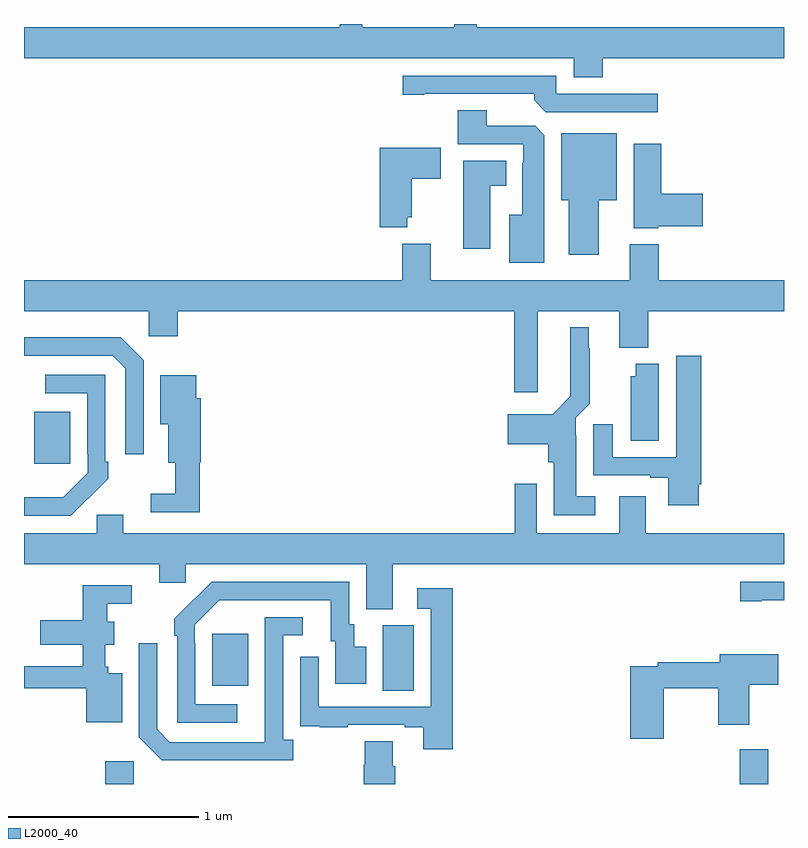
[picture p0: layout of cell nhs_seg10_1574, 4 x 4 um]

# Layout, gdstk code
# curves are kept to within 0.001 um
import gdstk
lib = gdstk.Library(unit=1e-6, precision=1e-09)
def R(c, l, rs):  # rectangles x0, y0, x1, y1
    for r in rs: c.add(gdstk.rectangle(r[:2], r[2:], *l))
def P(c, l, *ps):  # polygons
    for p in ps: c.add(gdstk.Polygon(p, *l))
L2000_40 = (2000, 40)

nhs_seg10_1574 = lib.new_cell('nhs_seg10_1574')
R(nhs_seg10_1574, L2000_40, [(193.427,1292.5,193.578,1292.62), (196.766,1292.5,196.918,1292.683), (194.888,1292.992,195.052,1293.336), (193.991,1293.017,194.179,1293.292), (193.055,1294.185,193.243,1294.459)])
P(nhs_seg10_1574, L2000_40, [(196.046,1296.32),(197,1296.32),(197,1296.484),(195.383,1296.484),(195.383,1296.5),(195.265,1296.5),(195.265,1296.484),(194.78,1296.484),(194.78,1296.5),(194.663,1296.5),(194.663,1296.484),(193,1296.484),(193,1296.32),(195.893,1296.32),(195.893,1296.221),(196.046,1296.221)],
  [(196.336,1296.132),(195.801,1296.132),(195.801,1296.228),(194.994,1296.228),(194.994,1296.127),(195.106,1296.127),(195.106,1296.132),(195.686,1296.132),(195.686,1296.098),(195.747,1296.036),(196.336,1296.036)],
  [(195.739,1295.915),(195.69,1295.964),(195.436,1295.964),(195.436,1296.047),(195.284,1296.047),(195.284,1295.868),(195.627,1295.868),(195.627,1295.771),(195.623,1295.771),(195.623,1295.497),(195.554,1295.497),(195.554,1295.243),(195.739,1295.243)],
  [(196.024,1295.573),(196.12,1295.573),(196.12,1295.926),(195.827,1295.926),(195.827,1295.573),(195.866,1295.573),(195.866,1295.286),(196.024,1295.286)],
  [(196.338,1295.435),(196.573,1295.435),(196.573,1295.606),(196.355,1295.606),(196.355,1295.869),(196.208,1295.869),(196.208,1295.426),(196.338,1295.426)],
  [(195.018,1295.483),(195.04,1295.483),(195.04,1295.686),(195.193,1295.686),(195.193,1295.848),(194.873,1295.848),(194.873,1295.429),(195.018,1295.429)],
  [(195.454,1295.648),(195.538,1295.648),(195.538,1295.779),(195.311,1295.779),(195.311,1295.316),(195.454,1295.316)],
  [(195.703,1294.988),(196.133,1294.988),(196.133,1294.796),(196.286,1294.796),(196.286,1294.988),(197,1294.988),(197,1295.152),(196.34,1295.152),(196.34,1295.341),(196.187,1295.341),(196.187,1295.152),(195.142,1295.152),(195.142,1295.344),(194.99,1295.344),(194.99,1295.152),(193,1295.152),(193,1294.988),(193.656,1294.988),(193.656,1294.857),(193.808,1294.857),(193.808,1294.988),(195.581,1294.988),(195.581,1294.563),(195.703,1294.563)],
  [(196.006,1294.015),(195.907,1294.015),(195.907,1294.334),(195.903,1294.334),(195.903,1294.428),(195.977,1294.502),(195.977,1294.793),(195.973,1294.793),(195.973,1294.903),(195.875,1294.903),(195.876,1294.54),(195.783,1294.447),(195.546,1294.447),(195.546,1294.289),(195.758,1294.289),(195.758,1294.194),(195.788,1294.194),(195.788,1293.914),(196.006,1293.914)],
  [(193.629,1294.731),(193.508,1294.852),(193,1294.852),(193,1294.755),(193.467,1294.755),(193.533,1294.689),(193.533,1294.236),(193.629,1294.236)],
  [(196.552,1294.078),(196.565,1294.078),(196.565,1294.753),(196.433,1294.753),(196.433,1294.221),(196.099,1294.221),(196.099,1294.393),(195.995,1294.393),(195.995,1294.125),(196.295,1294.125),(196.295,1294.113),(196.391,1294.113),(196.391,1293.966),(196.552,1293.966)],
  [(196.342,1294.711),(196.22,1294.711),(196.22,1294.647),(196.193,1294.647),(196.193,1294.306),(196.342,1294.306)],
  [(193.337,1294.003),(193.338,1294.002),(193.443,1294.107),(193.443,1294.195),(193.428,1294.195),(193.428,1294.653),(193.113,1294.653),(193.113,1294.557),(193.332,1294.557),(193.332,1294.237),(193.335,1294.237),(193.335,1294.137),(193.207,1294.009),(193,1294.008),(193,1293.912),(193.246,1293.912)],
  [(193.925,1294.194),(193.931,1294.194),(193.931,1294.53),(193.906,1294.53),(193.906,1294.651),(193.718,1294.651),(193.718,1294.394),(193.76,1294.394),(193.76,1294.19),(193.797,1294.19),(193.797,1294.027),(193.668,1294.027),(193.668,1293.93),(193.925,1293.93)],
  [(194.941,1293.656),(197,1293.656),(197,1293.82),(196.273,1293.82),(196.273,1294.015),(196.133,1294.015),(196.133,1293.82),(195.699,1293.82),(195.699,1294.081),(195.583,1294.081),(195.583,1293.82),(193.522,1293.82),(193.522,1293.918),(193.383,1293.918),(193.383,1293.82),(193,1293.82),(193,1293.656),(193.712,1293.656),(193.712,1293.558),(193.851,1293.558),(193.851,1293.656),(194.801,1293.656),(194.801,1293.421),(194.941,1293.421)],
  [(196.882,1293.468),(197,1293.468),(197,1293.564),(196.77,1293.564),(196.77,1293.463),(196.882,1293.463)],
  [(194.122,1292.919),(193.902,1292.919),(193.902,1293.239),(193.899,1293.239),(193.899,1293.339),(194.028,1293.468),(194.615,1293.468),(194.615,1293.252),(194.639,1293.252),(194.639,1293.027),(194.8,1293.027),(194.8,1293.223),(194.737,1293.223),(194.737,1293.342),(194.712,1293.342),(194.712,1293.564),(193.988,1293.564),(193.791,1293.369),(193.791,1293.281),(193.806,1293.281),(193.806,1292.823),(194.122,1292.823)],
  [(193.516,1293.082),(193.444,1293.082),(193.444,1293.117),(193.427,1293.117),(193.427,1293.233),(193.474,1293.233),(193.474,1293.355),(193.438,1293.355),(193.438,1293.45),(193.567,1293.45),(193.567,1293.546),(193.309,1293.546),(193.309,1293.363),(193.086,1293.363),(193.086,1293.233),(193.309,1293.233),(193.309,1293.12),(193,1293.12),(193,1293.004),(193.328,1293.004),(193.328,1292.825),(193.516,1292.825)],
  [(195.257,1293.529),(195.069,1293.529),(195.069,1293.423),(195.141,1293.423),(195.141,1292.907),(194.55,1292.907),(194.55,1293.169),(194.454,1293.169),(194.454,1292.914),(194.455,1292.914),(194.455,1292.805),(194.557,1292.805),(194.557,1292.799),(194.705,1292.799),(194.705,1292.811),(195.005,1292.811),(195.005,1292.799),(195.101,1292.799),(195.101,1292.682),(195.257,1292.682)],
  [(194.416,1292.734),(194.364,1292.734),(194.364,1293.282),(194.467,1293.282),(194.467,1293.378),(194.268,1293.378),(194.267,1292.721),(193.767,1292.721),(193.701,1292.787),(193.701,1293.241),(193.605,1293.241),(193.605,1292.745),(193.726,1292.624),(194.416,1292.624)],
  [(196.368,1293.004),(196.654,1293.004),(196.654,1292.811),(196.816,1292.811),(196.816,1293.022),(196.969,1293.022),(196.969,1293.184),(196.661,1293.184),(196.661,1293.14),(196.336,1293.14),(196.336,1293.12),(196.19,1293.12),(196.19,1292.739),(196.368,1292.739)],
  [(194.954,1292.594),(194.941,1292.594),(194.941,1292.726),(194.794,1292.726),(194.794,1292.601),(194.789,1292.601),(194.789,1292.5),(194.954,1292.5)])

lib.write_gds('nhs_seg10_1574.gds')
